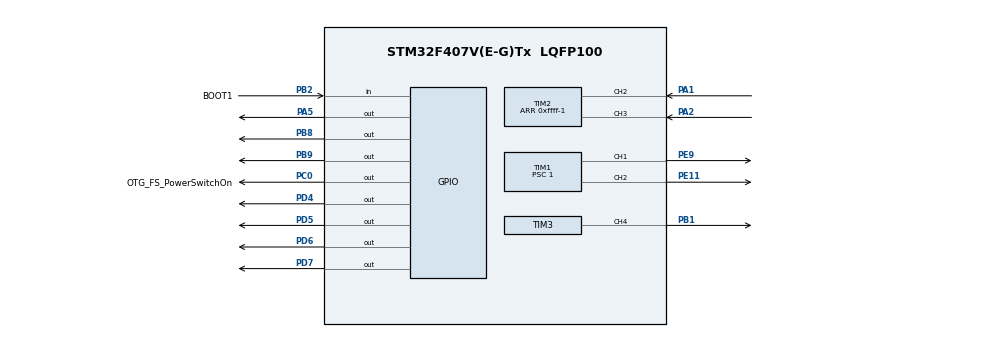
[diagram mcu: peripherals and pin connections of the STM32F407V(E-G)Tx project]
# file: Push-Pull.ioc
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Mcu.Family=STM32F4
Mcu.Name=STM32F407V(E-G)Tx
Mcu.Package=LQFP100
NVIC.PriorityGroup=NVIC_PRIORITYGROUP_0
NVIC.TIM2_IRQn=true\:0\:0\:false\:false\:true\:true\:true
PA1.Signal=S_TIM2_CH2
PA13.GPIO_Label=SWDIO
PA13.Mode=Serial_Wire
PA13.Signal=SYS_JTMS-SWDIO
PA14.GPIO_Label=SWCLK
PA14.Mode=Serial_Wire
PA14.Signal=SYS_JTCK-SWCLK
PA2.Signal=S_TIM2_CH3
PA5.GPIO_Speed=GPIO_SPEED_FREQ_HIGH
PA5.Signal=GPIO_Output
PB1.Signal=S_TIM3_CH4
PB2.GPIO_Label=BOOT1
PB2.GPIO_Mode=GPIO_MODE_INPUT
PB2.GPIO_PuPd=GPIO_NOPULL
PB2.Signal=GPIO_Input
PB8.Signal=GPIO_Output
PB9.Signal=GPIO_Output
PC0.GPIO_Label=OTG_FS_PowerSwitchOn
PC0.GPIO_PuPd=GPIO_NOPULL
PC0.GPIO_Speed=GPIO_SPEED_FREQ_LOW
PC0.PinState=GPIO_PIN_SET
PC0.Signal=GPIO_Output
PC14-OSC32_IN.GPIO_Label=PC14-OSC32_IN
PC14-OSC32_IN.Mode=LSE-External-Oscillator
PC14-OSC32_IN.Signal=RCC_OSC32_IN
PC15-OSC32_OUT.GPIO_Label=PC15-OSC32_OUT
PC15-OSC32_OUT.Mode=LSE-External-Oscillator
PC15-OSC32_OUT.Signal=RCC_OSC32_OUT
PC3.GPIO_Label=PDM_OUT [MP45DT02_DOUT]
PC3.GPIO_Mode=GPIO_MODE_AF_PP
PC3.GPIO_PuPd=GPIO_NOPULL
PC3.GPIO_Speed=GPIO_SPEED_FREQ_LOW
PC3.Signal=I2S2_SD
PD4.Signal=GPIO_Output
PD5.Signal=GPIO_Output
PD6.Signal=GPIO_Output
PD7.Signal=GPIO_Output
PE11.Signal=S_TIM1_CH2
PE9.Signal=S_TIM1_CH1
PH0-OSC_IN.GPIO_Label=PH0-OSC_IN
PH0-OSC_IN.Mode=HSE-External-Oscillator
PH0-OSC_IN.Signal=RCC_OSC_IN
PH1-OSC_OUT.GPIO_Label=PH1-OSC_OUT
PH1-OSC_OUT.Mode=HSE-External-Oscillator
PH1-OSC_OUT.Signal=RCC_OSC_OUT
ProjectManager.HeapSize=0x200
ProjectManager.StackSize=0x400
ProjectManager.TargetToolchain=EWARM V8.32
RCC.48MHZClocksFreq_Value=84000000
RCC.AHBFreq_Value=168000000
RCC.APB1CLKDivider=RCC_HCLK_DIV4
RCC.APB1Freq_Value=42000000
RCC.APB1TimFreq_Value=84000000
RCC.APB2CLKDivider=RCC_HCLK_DIV2
RCC.APB2Freq_Value=84000000
RCC.APB2TimFreq_Value=168000000
RCC.CortexFreq_Value=168000000
RCC.FLatency=FLASH_LATENCY_5
RCC.HCLKFreq_Value=168000000
RCC.HSE_VALUE=8000000
RCC.HSI_VALUE=16000000
RCC.PLLM=4
RCC.PLLN=168
RCC.PLLSourceVirtual=RCC_PLLSOURCE_HSE
RCC.SYSCLKFreq_VALUE=168000000
RCC.SYSCLKSource=RCC_SYSCLKSOURCE_PLLCLK
RCC.VCOOutputFreq_Value=336000000
SH.S_TIM1_CH1.0=TIM1_CH1,PWM Generation1 CH1
SH.S_TIM1_CH2.0=TIM1_CH2,PWM Generation2 CH2
SH.S_TIM2_CH2.0=TIM2_CH2,Input_Capture2_from_TI2
SH.S_TIM2_CH2.1=TIM2_CH2,TriggerSource_TI2FP2
SH.S_TIM2_CH3.0=TIM2_CH3,Input_Capture3_from_TI3
SH.S_TIM3_CH4.0=TIM3_CH4,PWM Generation4 CH4
TIM1.AutoReloadPreload=TIM_AUTORELOAD_PRELOAD_ENABLE
TIM1.AutomaticOutput=TIM_AUTOMATICOUTPUT_DISABLE
TIM1.BreakPolarity=TIM_BREAKPOLARITY_HIGH
TIM1.BreakState=TIM_BREAK_DISABLE
TIM1.Channel-PWM\ Generation1\ CH1=TIM_CHANNEL_1
TIM1.Channel-PWM\ Generation2\ CH2=TIM_CHANNEL_2
TIM1.ClockDivision=TIM_CLOCKDIVISION_DIV1
TIM1.CounterMode=TIM_COUNTERMODE_UP
TIM1.LockLevel=TIM_LOCKLEVEL_OFF
TIM1.OC1Preload_PWM=ENABLE
TIM1.OC2Preload_PWM=ENABLE
TIM1.OCFastMode_PWM-PWM\ Generation1\ CH1=TIM_OCFAST_DISABLE
TIM1.OCFastMode_PWM-PWM\ Generation2\ CH2=TIM_OCFAST_DISABLE
TIM1.OCIdleState_1=TIM_OCIDLESTATE_RESET
TIM1.OCIdleState_2=TIM_OCIDLESTATE_RESET
TIM1.OCMode_PWM-PWM\ Generation1\ CH1=TIM_OCMODE_PWM1
TIM1.OCMode_PWM-PWM\ Generation2\ CH2=TIM_OCMODE_PWM2
TIM1.OCPolarity_1=TIM_OCPOLARITY_HIGH
TIM1.OCPolarity_2=TIM_OCPOLARITY_HIGH
TIM1.OffStateIDLEMode=TIM_OSSI_DISABLE
TIM1.OffStateRunMode=TIM_OSSR_DISABLE
TIM1.Period=2099
TIM1.Prescaler=1
TIM1.Pulse-PWM\ Generation1\ CH1=0
TIM1.Pulse-PWM\ Generation2\ CH2=0
TIM1.RepetitionCounter=0
TIM1.TIM_MasterOutputTrigger=TIM_TRGO_RESET
TIM1.TIM_MasterSlaveMode=TIM_MASTERSLAVEMODE_DISABLE
TIM2.Channel-Input_Capture2_from_TI2=TIM_CHANNEL_2
TIM2.Channel-Input_Capture3_from_TI3=TIM_CHANNEL_3
TIM2.ICPolarity_CH3=TIM_INPUTCHANNELPOLARITY_FALLING
TIM2.Period=0xffff-1
TIM3.Channel-PWM\ Generation4\ CH4=TIM_CHANNEL_4
TIM3.Period=1799
TIM3.Prescaler=1
VP_TIM2_VS_ControllerModeReset.Mode=Reset Mode
board=STM32F407G-DISC1

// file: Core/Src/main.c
/* USER CODE BEGIN Header */
/**
  ******************************************************************************
  * @file           : main.c
  * @brief          : Main program body
  ******************************************************************************
  * @attention
  *
  * <h2><center>&copy; Copyright (c) 2020 STMicroelectronics.
  * All rights reserved.</center></h2>
  *
  * This software component is licensed by ST under Ultimate Liberty license
  * SLA0044, the "License"; You may not use this file except in compliance with
  * the License. You may obtain a copy of the License at:
  *                             www.st.com/SLA0044
  *
  ******************************************************************************
  */
/* USER CODE END Header */

#include "main.h"

/* USER CODE BEGIN Includes */
#include "STLib.h"
#include "tm_stm32f4_hd44780.h"
#include "string.h"
/* USER CODE END Includes */

/* USER CODE BEGIN PD */

#define TIM1_CH1_PA         8
#define TIM1_CH2_PA         9

#define LED1_G_PC           9
#define LED2_B_PC           8

/* USER CODE END PD */

TIM_HandleTypeDef htim2;
TIM_HandleTypeDef htim3;

/* USER CODE BEGIN PV */
//u8 alarm[]  = {0x02,0x04,0x04,0x0E,0x0E,0x1F,0x1F,0x04};
unsigned int count=0;
int pwm;
uint32_t i=0;
char str[5];
char str1[5];
int pulseCount;
int rqstPulse;
/* USER CODE END PV */

void SystemClock_Config(void);
static void MX_GPIO_Init(void);
static void MX_TIM1_Init(void);
static void MX_TIM2_Init(void);
static void MX_TIM3_Init(void);

/* USER CODE BEGIN 0 */
uint32_t IC_Val1 = 0;
uint32_t IC_Val2 = 0;
uint32_t Frequency = 0;
uint32_t Duty_Cycle = 0;

void step(int count)
{
	for(int i = 0; i<=count; i++)
	{
		GPIOA->ODR |= GPIO_ODR_OD5;
		delay_us(20);
		GPIOA->ODR &= ~GPIO_ODR_OD5;
		delay_us(20);
	}
}

void steoTim(int count)
{
	rqstPulse = count;
	HAL_TIM_PWM_Start(&htim3, TIM_CHANNEL_4);
}
/* USER CODE END 0 */

int main(void)
{

  /* MCU Configuration--------------------------------------------------------*/

  /* Reset of all peripherals, Initializes the Flash interface and the Systick. */
  HAL_Init();

  /* Configure the system clock */
  SystemClock_Config();

  /* USER CODE BEGIN SysInit */
  DWT_Init();
  /* USER CODE END SysInit */

  /* Initialize all configured peripherals */
  MX_GPIO_Init();
  MX_TIM1_Init();
  MX_TIM2_Init();
  MX_TIM3_Init();
  /* USER CODE BEGIN 2 */
	//MODIFY_REG(TIM2->CCER, TIM_CCER_CC2E | TIM_CCER_CC3E, TIM_CCER_CC2E | TIM_CCER_CC3E);
	HAL_TIM_IC_Start_IT(&htim2, TIM_CHANNEL_2);
	HAL_TIM_IC_Start_IT(&htim2, TIM_CHANNEL_3);
	TIM3->CCR4 = 900;
	HAL_TIM_PWM_Start(&htim3, TIM_CHANNEL_4);

	HAL_TIM_OC_Start_IT(&htim3, TIM_CHANNEL_1);
	//HAL_TIM_PWM_Start(&htim3, TIM_CHANNEL_1);

	/*
	TIM2->SR = 0;
	TIM6->ARR = 0xffff;
	TIM2->CR2 |= TIM_CR1_CEN;
	while (!(TIM2->SR & TIM_SR_UIF)) ;
	TIM2->CCMR2 |= TIM_CCMR1_CC1S_1;
	TIM2->CCER |= TIM_CCER_CC2E;
	TIM2->CR2 |= TIM_CR1_CEN;
	*/
  //SET_BIT(GPIOB->ODR, GPIO_ODR_OD8);
	uint8_t customChar[] = {
		0x1F,	// xxx 11111
		0x11,	// xxx 10001
		0x11,	// xxx 10001
		0x11,	// xxx 10001
		0x11,	// xxx 10001
		0x11,	// xxx 10001
		0x11,	// xxx 10001
		0x1F	// xxx 11111
	};
	TM_HD44780_Init(20, 4);
	TM_HD44780_CreateChar(0, &customChar[0]);
	//TM_HD44780_PutCustom(0, 0, 0);
	TM_HD44780_Puts(0, 0, "STM32 FRQ");
	TM_HD44780_Puts(0, 1, "SET");
	TM_HD44780_Puts(0, 2, "CAL");
	//TM_HD44780_Puts(0, 1, "In STM 1602 LCD");
	//HAL_Delay(3000);
	//TM_HD44780_CursorOn();
	//HAL_Delay(1000);
	//TM_HD44780_BlinkOn();
  TIM_EN();
  //SET_FRQ(1950, 954);

  SET_PWM(800);
  delay_ms(10);
  //FRQ_CALCULATOR(22000);
  SET_FRQ(22000, 50);
  MODIFY_REG(GPIOB->ODR, GPIO_ODR_OD8, GPIO_ODR_OD2);
	steoTim(100);
  //CH1: PWM mode 2, CH2: PWM mode 1, preload enabled on all channels

  /* USER CODE END 2 */

  /* Infinite loop */
  while (1)
  {

    /* USER CODE BEGIN 3 */
    for(int i=20000; i<=32000; i++)
    {
    	//TM_HD44780_Clear();
    	SET_FRQ(i, 40);
	    Duty_Cycle = (IC_Val2 * 100 / IC_Val1);
	    Frequency = (2*HAL_RCC_GetPCLK1Freq() / IC_Val1);
	    itoa(i, str, 10);
	    itoa(Frequency, str1, 10);
	    TM_HD44780_Puts(4, 1, str);
	    TM_HD44780_Puts(4, 2, str1);
    	delay_us(10);
    	step(10);
	    delay_ms(1);
    }

  }
  /* USER CODE END 3 */
}

void SystemClock_Config(void)
{
  LL_FLASH_SetLatency(LL_FLASH_LATENCY_5);

  if(LL_FLASH_GetLatency() != LL_FLASH_LATENCY_5)
  {
  Error_Handler();
  }
  LL_PWR_SetRegulVoltageScaling(LL_PWR_REGU_VOLTAGE_SCALE1);
  LL_RCC_HSE_Enable();

   /* Wait till HSE is ready */
  while(LL_RCC_HSE_IsReady() != 1)
  {

  }
  LL_RCC_PLL_ConfigDomain_SYS(LL_RCC_PLLSOURCE_HSE, LL_RCC_PLLM_DIV_4, 168, LL_RCC_PLLP_DIV_2);
  LL_RCC_PLL_Enable();

   /* Wait till PLL is ready */
  while(LL_RCC_PLL_IsReady() != 1)
  {

  }
  LL_RCC_SetAHBPrescaler(LL_RCC_SYSCLK_DIV_1);
  LL_RCC_SetAPB1Prescaler(LL_RCC_APB1_DIV_4);
  LL_RCC_SetAPB2Prescaler(LL_RCC_APB2_DIV_2);
  LL_RCC_SetSysClkSource(LL_RCC_SYS_CLKSOURCE_PLL);

   /* Wait till System clock is ready */
  while(LL_RCC_GetSysClkSource() != LL_RCC_SYS_CLKSOURCE_STATUS_PLL)
  {

  }
  LL_SetSystemCoreClock(168000000);

   /* Update the time base */
  if (HAL_InitTick (TICK_INT_PRIORITY) != HAL_OK)
  {
    Error_Handler();
  };
}

static void MX_TIM1_Init(void)
{

  LL_TIM_InitTypeDef TIM_InitStruct = {0};
  LL_TIM_OC_InitTypeDef TIM_OC_InitStruct = {0};
  LL_TIM_BDTR_InitTypeDef TIM_BDTRInitStruct = {0};

  LL_GPIO_InitTypeDef GPIO_InitStruct = {0};

  /* Peripheral clock enable */
  LL_APB2_GRP1_EnableClock(LL_APB2_GRP1_PERIPH_TIM1);

  TIM_InitStruct.Prescaler = 1;
  TIM_InitStruct.CounterMode = LL_TIM_COUNTERMODE_UP;
  TIM_InitStruct.Autoreload = 2099;
  TIM_InitStruct.ClockDivision = LL_TIM_CLOCKDIVISION_DIV1;
  TIM_InitStruct.RepetitionCounter = 0;
  LL_TIM_Init(TIM1, &TIM_InitStruct);
  LL_TIM_EnableARRPreload(TIM1);
  LL_TIM_OC_EnablePreload(TIM1, LL_TIM_CHANNEL_CH1);
  TIM_OC_InitStruct.OCMode = LL_TIM_OCMODE_PWM1;
  TIM_OC_InitStruct.OCState = LL_TIM_OCSTATE_DISABLE;
  TIM_OC_InitStruct.OCNState = LL_TIM_OCSTATE_DISABLE;
  TIM_OC_InitStruct.CompareValue = 0;
  TIM_OC_InitStruct.OCPolarity = LL_TIM_OCPOLARITY_HIGH;
  TIM_OC_InitStruct.OCNPolarity = LL_TIM_OCPOLARITY_HIGH;
  TIM_OC_InitStruct.OCIdleState = LL_TIM_OCIDLESTATE_LOW;
  TIM_OC_InitStruct.OCNIdleState = LL_TIM_OCIDLESTATE_LOW;
  LL_TIM_OC_Init(TIM1, LL_TIM_CHANNEL_CH1, &TIM_OC_InitStruct);
  LL_TIM_OC_DisableFast(TIM1, LL_TIM_CHANNEL_CH1);
  LL_TIM_OC_EnablePreload(TIM1, LL_TIM_CHANNEL_CH2);
  TIM_OC_InitStruct.OCMode = LL_TIM_OCMODE_PWM2;
  TIM_OC_InitStruct.OCState = LL_TIM_OCSTATE_DISABLE;
  TIM_OC_InitStruct.OCNState = LL_TIM_OCSTATE_DISABLE;
  LL_TIM_OC_Init(TIM1, LL_TIM_CHANNEL_CH2, &TIM_OC_InitStruct);
  LL_TIM_OC_DisableFast(TIM1, LL_TIM_CHANNEL_CH2);
  LL_TIM_SetTriggerOutput(TIM1, LL_TIM_TRGO_RESET);
  LL_TIM_DisableMasterSlaveMode(TIM1);
  TIM_BDTRInitStruct.OSSRState = LL_TIM_OSSR_DISABLE;
  TIM_BDTRInitStruct.OSSIState = LL_TIM_OSSI_DISABLE;
  TIM_BDTRInitStruct.LockLevel = LL_TIM_LOCKLEVEL_OFF;
  TIM_BDTRInitStruct.DeadTime = 0;
  TIM_BDTRInitStruct.BreakState = LL_TIM_BREAK_DISABLE;
  TIM_BDTRInitStruct.BreakPolarity = LL_TIM_BREAK_POLARITY_HIGH;
  TIM_BDTRInitStruct.AutomaticOutput = LL_TIM_AUTOMATICOUTPUT_DISABLE;
  LL_TIM_BDTR_Init(TIM1, &TIM_BDTRInitStruct);
  LL_AHB1_GRP1_EnableClock(LL_AHB1_GRP1_PERIPH_GPIOE);
  /**TIM1 GPIO Configuration
  PE9   ------> TIM1_CH1
  PE11   ------> TIM1_CH2
  */
  GPIO_InitStruct.Pin = LL_GPIO_PIN_9|LL_GPIO_PIN_11;
  GPIO_InitStruct.Mode = LL_GPIO_MODE_ALTERNATE;
  GPIO_InitStruct.Speed = LL_GPIO_SPEED_FREQ_LOW;
  GPIO_InitStruct.OutputType = LL_GPIO_OUTPUT_PUSHPULL;
  GPIO_InitStruct.Pull = LL_GPIO_PULL_NO;
  GPIO_InitStruct.Alternate = LL_GPIO_AF_1;
  LL_GPIO_Init(GPIOE, &GPIO_InitStruct);

}

static void MX_TIM2_Init(void)
{

  TIM_SlaveConfigTypeDef sSlaveConfig = {0};
  TIM_MasterConfigTypeDef sMasterConfig = {0};
  TIM_IC_InitTypeDef sConfigIC = {0};

  htim2.Instance = TIM2;
  htim2.Init.Prescaler = 0;
  htim2.Init.CounterMode = TIM_COUNTERMODE_UP;
  htim2.Init.Period = 0xffff-1;
  htim2.Init.ClockDivision = TIM_CLOCKDIVISION_DIV1;
  htim2.Init.AutoReloadPreload = TIM_AUTORELOAD_PRELOAD_DISABLE;
  if (HAL_TIM_Base_Init(&htim2) != HAL_OK)
  {
    Error_Handler();
  }
  if (HAL_TIM_IC_Init(&htim2) != HAL_OK)
  {
    Error_Handler();
  }
  sSlaveConfig.SlaveMode = TIM_SLAVEMODE_RESET;
  sSlaveConfig.InputTrigger = TIM_TS_TI2FP2;
  sSlaveConfig.TriggerPolarity = TIM_INPUTCHANNELPOLARITY_RISING;
  sSlaveConfig.TriggerFilter = 0;
  if (HAL_TIM_SlaveConfigSynchro(&htim2, &sSlaveConfig) != HAL_OK)
  {
    Error_Handler();
  }
  sMasterConfig.MasterOutputTrigger = TIM_TRGO_RESET;
  sMasterConfig.MasterSlaveMode = TIM_MASTERSLAVEMODE_DISABLE;
  if (HAL_TIMEx_MasterConfigSynchronization(&htim2, &sMasterConfig) != HAL_OK)
  {
    Error_Handler();
  }
  sConfigIC.ICPolarity = TIM_INPUTCHANNELPOLARITY_RISING;
  sConfigIC.ICSelection = TIM_ICSELECTION_DIRECTTI;
  sConfigIC.ICPrescaler = TIM_ICPSC_DIV1;
  sConfigIC.ICFilter = 0;
  if (HAL_TIM_IC_ConfigChannel(&htim2, &sConfigIC, TIM_CHANNEL_2) != HAL_OK)
  {
    Error_Handler();
  }
  sConfigIC.ICPolarity = TIM_INPUTCHANNELPOLARITY_FALLING;
  if (HAL_TIM_IC_ConfigChannel(&htim2, &sConfigIC, TIM_CHANNEL_3) != HAL_OK)
  {
    Error_Handler();
  }

}

static void MX_TIM3_Init(void)
{

  TIM_MasterConfigTypeDef sMasterConfig = {0};
  TIM_OC_InitTypeDef sConfigOC = {0};

  htim3.Instance = TIM3;
  htim3.Init.Prescaler = 1;
  htim3.Init.CounterMode = TIM_COUNTERMODE_UP;
  htim3.Init.Period = 1799;
  htim3.Init.ClockDivision = TIM_CLOCKDIVISION_DIV1;
  htim3.Init.AutoReloadPreload = TIM_AUTORELOAD_PRELOAD_DISABLE;
  if (HAL_TIM_PWM_Init(&htim3) != HAL_OK)
  {
    Error_Handler();
  }
  sMasterConfig.MasterOutputTrigger = TIM_TRGO_RESET;
  sMasterConfig.MasterSlaveMode = TIM_MASTERSLAVEMODE_DISABLE;
  if (HAL_TIMEx_MasterConfigSynchronization(&htim3, &sMasterConfig) != HAL_OK)
  {
    Error_Handler();
  }
  sConfigOC.OCMode = TIM_OCMODE_PWM1;
  sConfigOC.Pulse = 0;
  sConfigOC.OCPolarity = TIM_OCPOLARITY_HIGH;
  sConfigOC.OCFastMode = TIM_OCFAST_DISABLE;
  if (HAL_TIM_PWM_ConfigChannel(&htim3, &sConfigOC, TIM_CHANNEL_4) != HAL_OK)
  {
    Error_Handler();
  }
  HAL_TIM_MspPostInit(&htim3);

}

static void MX_GPIO_Init(void)
{
  LL_GPIO_InitTypeDef GPIO_InitStruct = {0};

  /* GPIO Ports Clock Enable */
  LL_AHB1_GRP1_EnableClock(LL_AHB1_GRP1_PERIPH_GPIOC);
  LL_AHB1_GRP1_EnableClock(LL_AHB1_GRP1_PERIPH_GPIOH);
  LL_AHB1_GRP1_EnableClock(LL_AHB1_GRP1_PERIPH_GPIOA);
  LL_AHB1_GRP1_EnableClock(LL_AHB1_GRP1_PERIPH_GPIOB);
  LL_AHB1_GRP1_EnableClock(LL_AHB1_GRP1_PERIPH_GPIOE);
  LL_AHB1_GRP1_EnableClock(LL_AHB1_GRP1_PERIPH_GPIOD);

  /**/
  LL_GPIO_SetOutputPin(OTG_FS_PowerSwitchOn_GPIO_Port, OTG_FS_PowerSwitchOn_Pin);

  /**/
  LL_GPIO_ResetOutputPin(GPIOA, LL_GPIO_PIN_5);

  /**/
  LL_GPIO_ResetOutputPin(GPIOD, LL_GPIO_PIN_4|LL_GPIO_PIN_5|LL_GPIO_PIN_6|LL_GPIO_PIN_7);

  /**/
  LL_GPIO_ResetOutputPin(GPIOB, LL_GPIO_PIN_8|LL_GPIO_PIN_9);

  /**/
  GPIO_InitStruct.Pin = OTG_FS_PowerSwitchOn_Pin;
  GPIO_InitStruct.Mode = LL_GPIO_MODE_OUTPUT;
  GPIO_InitStruct.Speed = LL_GPIO_SPEED_FREQ_LOW;
  GPIO_InitStruct.OutputType = LL_GPIO_OUTPUT_PUSHPULL;
  GPIO_InitStruct.Pull = LL_GPIO_PULL_NO;
  LL_GPIO_Init(OTG_FS_PowerSwitchOn_GPIO_Port, &GPIO_InitStruct);

  /**/
  GPIO_InitStruct.Pin = PDM_OUT_Pin;
  GPIO_InitStruct.Mode = LL_GPIO_MODE_ALTERNATE;
  GPIO_InitStruct.Speed = LL_GPIO_SPEED_FREQ_LOW;
  GPIO_InitStruct.OutputType = LL_GPIO_OUTPUT_PUSHPULL;
  GPIO_InitStruct.Pull = LL_GPIO_PULL_NO;
  GPIO_InitStruct.Alternate = LL_GPIO_AF_5;
  LL_GPIO_Init(PDM_OUT_GPIO_Port, &GPIO_InitStruct);

  /**/
  GPIO_InitStruct.Pin = LL_GPIO_PIN_5;
  GPIO_InitStruct.Mode = LL_GPIO_MODE_OUTPUT;
  GPIO_InitStruct.Speed = LL_GPIO_SPEED_FREQ_HIGH;
  GPIO_InitStruct.OutputType = LL_GPIO_OUTPUT_PUSHPULL;
  GPIO_InitStruct.Pull = LL_GPIO_PULL_NO;
  LL_GPIO_Init(GPIOA, &GPIO_InitStruct);

  /**/
  GPIO_InitStruct.Pin = BOOT1_Pin;
  GPIO_InitStruct.Mode = LL_GPIO_MODE_INPUT;
  GPIO_InitStruct.Pull = LL_GPIO_PULL_NO;
  LL_GPIO_Init(BOOT1_GPIO_Port, &GPIO_InitStruct);

  /**/
  GPIO_InitStruct.Pin = LL_GPIO_PIN_4|LL_GPIO_PIN_5|LL_GPIO_PIN_6|LL_GPIO_PIN_7;
  GPIO_InitStruct.Mode = LL_GPIO_MODE_OUTPUT;
  GPIO_InitStruct.Speed = LL_GPIO_SPEED_FREQ_LOW;
  GPIO_InitStruct.OutputType = LL_GPIO_OUTPUT_PUSHPULL;
  GPIO_InitStruct.Pull = LL_GPIO_PULL_NO;
  LL_GPIO_Init(GPIOD, &GPIO_InitStruct);

  /**/
  GPIO_InitStruct.Pin = LL_GPIO_PIN_8|LL_GPIO_PIN_9;
  GPIO_InitStruct.Mode = LL_GPIO_MODE_OUTPUT;
  GPIO_InitStruct.Speed = LL_GPIO_SPEED_FREQ_LOW;
  GPIO_InitStruct.OutputType = LL_GPIO_OUTPUT_PUSHPULL;
  GPIO_InitStruct.Pull = LL_GPIO_PULL_NO;
  LL_GPIO_Init(GPIOB, &GPIO_InitStruct);

}

void Error_Handler(void)
{
}

/************************ (C) COPYRIGHT STMicroelectronics *****END OF FILE****/
